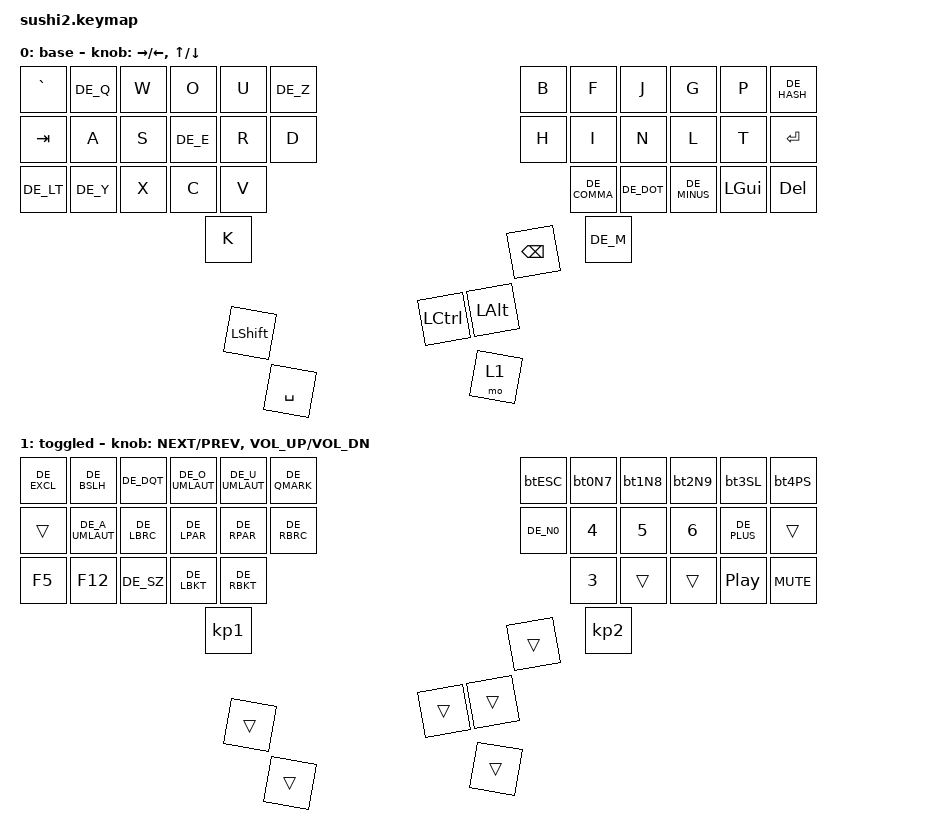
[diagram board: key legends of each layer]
// This file was generated from a template. Edit it to match your keyboard.
// See https://zmk.dev/docs/development/hardware-integration/new-shield for more instructions.

#include <behaviors.dtsi>
#include <dt-bindings/zmk/bt.h>
#include <dt-bindings/zmk/keys.h>
#include "keys_de.h"

/ {
	
    behaviors {
		// bluetooth layer controls
		btESC: bluetooth_clear_slot_or_escape {
            compatible = "zmk,behavior-mod-morph";
            #binding-cells = <0>;
            bindings = <&kp ESC>, <&bt BT_CLR>;
            mods = <(MOD_LCTL|MOD_RCTL)>;
        };
        bt0N7: bluetooth_slot_0_or_keypad_nr7 {
            compatible = "zmk,behavior-mod-morph";
            #binding-cells = <0>;
            bindings = <&kp KP_N7>, <&bt BT_SEL 0>;
            mods = <(MOD_LCTL|MOD_RCTL)>;
        };
        bt1N8: bluetooth_slot_1_or_keypad_nr8 {
            compatible = "zmk,behavior-mod-morph";
            #binding-cells = <0>;
            bindings = <&kp KP_N8>, <&bt BT_SEL 1>;
            mods = <(MOD_LCTL|MOD_RCTL)>;
        };
        bt2N9: bluetooth_slot_2_or_keypad_nr9 {
            compatible = "zmk,behavior-mod-morph";
            #binding-cells = <0>;
            bindings = <&kp KP_N9>, <&bt BT_SEL 2>;
            mods = <(MOD_LCTL|MOD_RCTL)>;
        };
        bt3SL: bluetooth_slot_3_or_slash {
            compatible = "zmk,behavior-mod-morph";
            #binding-cells = <0>;
            bindings = <&kp DE_SLASH>, <&bt BT_SEL 3>;
            mods = <(MOD_LCTL|MOD_RCTL)>;
        };
        bt4PS: bluetooth_slot_4_or_printscreen {
            compatible = "zmk,behavior-mod-morph";
            #binding-cells = <0>;
            bindings = <&kp PSCRN>, <&bt BT_SEL 4>;
            mods = <(MOD_LCTL|MOD_RCTL)>;
        };
    };

    // default keymap for german layout
    keymap {
        compatible = "zmk,keymap";

        default_layer { // Layer 0
			display-name = "base";
            bindings = <
                &kp GRAVE	  &kp DE_Q  &kp W     &kp O     &kp U     &kp DE_Z       &kp B     &kp F     &kp J     &kp G        &kp P      &kp DE_HASH
                &kp TAB       &kp A     &kp S     &kp DE_E  &kp R     &kp D          &kp H     &kp I     &kp N     &kp L        &kp T      &kp RET
                &kp DE_LT     &kp DE_Y  &kp X     &kp C     &kp V                              &kp K     &kp DE_M  &kp DE_COMMA &kp DE_DOT &kp DE_MINUS
                                                                 &kp LGUI                &kp DEL
                                                                   &kp LSHIFT          &mo 1
                                                                     &kp SPACE       &kp BSPC
                                                                       &kp LCTRL   &kp LALT
            >;
			sensor-bindings = <
				&inc_dec_kp RIGHT    LEFT
				&inc_dec_kp UP       DOWN
			>;
        };
		righttoggle_layer { // Layer 1
			display-name = "toggled";
            bindings = <
                &kp DE_EXCL &kp DE_BSLH     &kp DE_DQT  &kp DE_O_UMLAUT &kp DE_U_UMLAUT &kp DE_QMARK   &btESC    &bt0N7    &bt1N8    &bt2N9    &bt3SL        &bt4PS
                &trans      &kp DE_A_UMLAUT &kp DE_LBRC &kp DE_LPAR     &kp DE_RPAR     &kp DE_RBRC    &kp DE_N0 &kp N4    &kp N5    &kp N6    &kp DE_PLUS   &trans
                &kp F5      &kp F12         &kp DE_SZ   &kp DE_LBKT     &kp DE_RBKT                              &kp KP_N1 &kp KP_N2 &kp N3    &trans        &trans
                                                                                 &kp C_PP                &kp C_MUTE
                                                                                   &trans              &trans
                                                                                     &trans          &trans
                                                                                       &trans      &trans
            >;
			sensor-bindings = <
				&inc_dec_kp C_NEXT	    C_PREV
				&inc_dec_kp C_VOL_UP    C_VOL_DN
			>;
        };
    };
};
